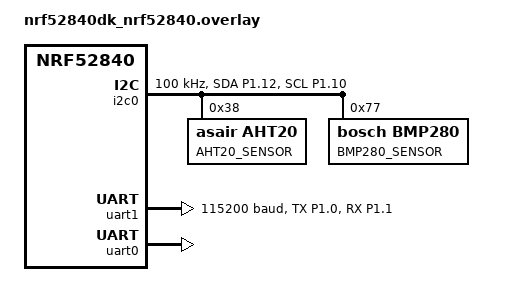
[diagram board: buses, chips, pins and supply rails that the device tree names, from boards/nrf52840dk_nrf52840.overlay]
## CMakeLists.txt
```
# SPDX-License-Identifier: Apache-2.0

cmake_minimum_required(VERSION 3.20.0)

find_package(Zephyr REQUIRED HINTS $ENV{ZEPHYR_BASE})

project(crs_demo)

FILE(GLOB devices_sources src/devices/src/*.c)
FILE(GLOB protocol_sources src/protocol/src/*.c)
FILE(GLOB communicate_sources src/communicate/src/*.c)

target_sources(app PRIVATE src/main.c ${devices_sources} ${protocol_sources} ${communicate_sources})

target_include_directories(app PRIVATE src src/devices/inc src/protocol/inc src/communicate/inc)
```

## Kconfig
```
mainmenu "CRS DEMO"

menu "Application configuration"

config AS201_IMU
    bool "Enable AS201 IMU Support"
    default n
    help 
      This option enables the custom AS201 inertial measurement unit driver logic.

config LD2410C_DDRS
    bool "Enable LD2410C DDRS Support"
    default n
    help 
      This option enables the custom LD2410C Distance Detection Radar Sensor driver logic.

config AHT20_TS
    bool "Enable AHT20 TS Support"
    default n
    help 
      This option enables the custom AHT20 temperature sensor driver logic.

config BMP280_PS
    bool "Enable BMP280 Support"
    default n
    help 
      This option enables the custom BMP280 pressure sensor driver logic.

config HRBO
    bool "Enable HRBO Support"
    default n
    help 
      This option enables the custom Oximeter and Heart-Rate Sensor driver logic.

config BLINK
    bool "Enable BLINK Support"
    default n
    help 
      This option enables the custom BLINK driver logic.

config DEBUG_UART
    bool "Enable DEBUG UART Support"
    default n
    help 
      This option enables the custom DEBUG UART driver logic.

endmenu

source "Kconfig.zephyr"
```

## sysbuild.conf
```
SB_CONFIG_BOOTLOADER_MCUBOOT=y
# SB_CONFIG_MCUBOOT_MODE_OVERWRITE_ONLY=y
```

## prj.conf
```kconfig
CONFIG_PRINTK=y
CONFIG_LOG=y
CONFIG_ASSERT=n

# IPC
CONFIG_EVENTS=y   

#MEM
CONFIG_HEAP_MEM_POOL_SIZE=2048

#BT
CONFIG_BT=y
CONFIG_BT_PERIPHERAL=y
# update data len
CONFIG_BT_DATA_LEN_UPDATE=y
CONFIG_BT_USER_DATA_LEN_UPDATE=y
CONFIG_BT_CTLR_DATA_LENGTH_MAX=251
CONFIG_BT_BUF_ACL_TX_SIZE=502
CONFIG_BT_BUF_ACL_RX_SIZE=502
CONFIG_BT_L2CAP_TX_MTU=498
# update phy param
CONFIG_BT_PHY_UPDATE=y
CONFIG_BT_USER_PHY_UPDATE=y
CONFIG_BT_CTLR_PHY_2M=n
CONFIG_BT_CTLR_PHY_CODED=y
# ble tx power
CONFIG_BT_CTLR_TX_PWR_DYNAMIC_CONTROL=y
CONFIG_BT_LL_SW_SPLIT=y
# Set preferred values based on BT_BAP_CONN_PARAM_RELAXED
CONFIG_BT_PERIPHERAL_PREF_MIN_INT=6
CONFIG_BT_PERIPHERAL_PREF_MAX_INT=30
CONFIG_BT_PERIPHERAL_PREF_LATENCY=0
CONFIG_BT_PERIPHERAL_PREF_TIMEOUT=400

# gpio enable
CONFIG_GPIO=y

# i2c enable
CONFIG_I2C=y
CONFIG_I2C_NRFX=y

# uart enable
CONFIG_SERIAL=y
CONFIG_UART_ASYNC_API=y

# disable watchdog
CONFIG_WATCHDOG=y

# user custom function
CONFIG_AS201_IMU=n
CONFIG_LD2410C_DDRS=n
CONFIG_AHT20_TS=y
CONFIG_BMP280_PS=y
CONFIG_HRBO=y
CONFIG_BLINK=y
CONFIG_DEBUG_UART=n
CONFIG_BT_CRS=y

# Enable MCUmgr and dependencies.
CONFIG_KERNEL_BIN_NAME="V_1_0_11"
CONFIG_BT_DEVICE_NAME="CRS_V_1_0_11"
CONFIG_BOOTLOADER_MCUBOOT=y
CONFIG_MCUMGR=y
CONFIG_MCUMGR_TRANSPORT_BT=y
CONFIG_MCUMGR_GRP_IMG=y
CONFIG_MCUMGR_GRP_OS=y
CONFIG_MCUMGR_TRANSPORT_BT_REASSEMBLY=y
CONFIG_MCUMGR_GRP_OS_MCUMGR_PARAMS=y
CONFIG_MCUMGR_TRANSPORT_BT_CONN_PARAM_CONTROL=y # OTA speed
CONFIG_MCUMGR_TRANSPORT_NETBUF_SIZE=2475
# OTA mmg
CONFIG_FLASH=y
CONFIG_FLASH_MAP=y
CONFIG_STREAM_FLASH=y
CONFIG_IMG_MANAGER=y
CONFIG_NET_BUF=y
CONFIG_ZCBOR=y
```

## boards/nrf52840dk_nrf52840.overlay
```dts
/* SPDX-License-Identifier: Apache-2.0 */

/ {
	zephyr,user {
		as201-imu-uart = <&crs_as201_imu_uart>;
	};
	
	aliases {
		sensor-device = &uart0;
	};
};

&pinctrl {
	i2c0_default: i2c0_default {
		group1 {
			psels = <NRF_PSEL(TWIM_SDA, 1, 12)>,
				<NRF_PSEL(TWIM_SCL, 1, 10)>;
		};
	};

	i2c0_sleep: i2c0_sleep {
		group1 {
			psels = <NRF_PSEL(TWIM_SDA, 1, 12)>,
				<NRF_PSEL(TWIM_SCL, 1, 10)>;
			low-power-enable;
		};
	};

	as201_imu_uart_default: as201_imu_uart_default {
		group1 {
			psels = <NRF_PSEL(UART_TX, 1, 0)>,
				<NRF_PSEL(UART_RX, 1, 1)>;
		};
	};
};

&i2c0 {
	compatible = "nordic,nrf-twim";
	status = "okay";
	pinctrl-0 = <&i2c0_default>;
	pinctrl-1 = <&i2c0_sleep>;
	pinctrl-names = "default", "sleep";
	clock-frequency = <100000>;

	hrbo_sensor: hrbo_sensor@62 {
		compatible = "maxim,maxm86161";
		reg = <0x62>;
		label = "HRBO_SENSOR";
		status = "disabled";
	};

	aht20_sensor: aht20_sensor@38 {
		compatible = "asair,aht20";
		reg = <0x38>;
		label = "AHT20_SENSOR";
		status = "okay";
	};

	bmp280_sensor: bmp280_sensor@77 {
		compatible = "bosch,bmp280";
		reg = <0x77>;
		label = "BMP280_SENSOR";
		status = "okay";
	};
};

crs_as201_imu_uart: &uart1 {
	status = "okay";
	pinctrl-0 = <&as201_imu_uart_default>;
	current-speed = <115200>;
};

&uart0 {
    status = "okay";
};
```

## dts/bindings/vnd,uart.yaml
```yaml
# dts/bindings/vnd_uart.yaml
description: Vendor Virtual Sensor/UART for RTIO demo

compatible: "vnd_uart"

include: base.yaml

properties:
  sample_period:
    type: int
    required: true
    description: Time between simulated data events in milliseconds.

  sample_size:
    type: int
    required: true
    description: Size of each data packet in bytes.
```

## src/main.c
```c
#include "main.h"

#include <zephyr/device.h>
#include <zephyr/kernel.h>
#include <zephyr/linker/linker-defs.h>
#include <zephyr/logging/log.h>
#include <zephyr/stats/stats.h>

#ifdef CONFIG_MCUMGR_GRP_FS
#include <zephyr/device.h>
#include <zephyr/fs/fs.h>
#include <zephyr/fs/littlefs.h>
#endif

#ifdef CONFIG_MCUMGR_GRP_STAT
#include <zephyr/mgmt/mcumgr/grp/stat_mgmt/stat_mgmt.h>
#endif

LOG_MODULE_REGISTER(smp_sample);

struct k_mutex i2c_mutex;

#ifdef CONFIG_MCUMGR_GRP_FS
#define STORAGE_PARTITION_LABEL storage_partition
#define STORAGE_PARTITION_ID FIXED_PARTITION_ID(STORAGE_PARTITION_LABEL)
FS_LITTLEFS_DECLARE_DEFAULT_CONFIG(cstorage);
static struct fs_mount_t littlefs_mnt = {
    .type = FS_LITTLEFS, .fs_data = &cstorage, .storage_dev = (void*)STORAGE_PARTITION_ID, .mnt_point = "/lfs1"};
#endif

#ifdef CONFIG_MCUMGR_GRP_STAT
/* Define an example stats group; approximates seconds since boot. */
STATS_SECT_START(smp_svr_stats)
STATS_SECT_ENTRY(ticks)
STATS_SECT_END;

/* Assign a name to the `ticks` stat. */
STATS_NAME_START(smp_svr_stats)
STATS_NAME(smp_svr_stats, ticks)
STATS_NAME_END(smp_svr_stats);

/* Define an instance of the stats group. */
STATS_SECT_DECL(smp_svr_stats) smp_svr_stats;
#endif

int main(void)
{
    printk("Address of sample %p\n", (void*)__rom_region_start);
#ifdef CONFIG_MCUMGR_GRP_STAT
    int rc = STATS_INIT_AND_REG(smp_svr_stats, STATS_SIZE_32, "smp_svr_stats");
    if (rc < 0) {
        LOG_ERR("Error initializing stats system [%d]", rc);
    }
#endif
#ifdef CONFIG_MCUMGR_GRP_FS
    rc = fs_mount(&littlefs_mnt);
    if (rc < 0) {
        LOG_ERR("Error mounting littlefs [%d]", rc);
    }
#endif

    k_mutex_init(&i2c_mutex);

    while (1) {
        k_sleep(K_MSEC(10));
#ifdef CONFIG_MCUMGR_GRP_STAT
        STATS_INC(smp_svr_stats, ticks);
#endif
    }
    return 0;
}
```

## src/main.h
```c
#ifndef __MAIN_H__
#define __MAIN_H__

#include <zephyr/kernel.h>

#include "protocol/inc/crs_producer.h"

enum {
#ifdef CONFIG_AHT20_TS
    AHT20_TS_EVENT_NUM,
#endif

#ifdef CONFIG_BMP280_PS
    BMP280_PS_EVENT_NUM,
#endif

#ifdef CONFIG_HRBO
    HRBO_EVENT_NUM,
#endif

#ifdef CONFIG_LD2410C_DDRS
    LD2410C_DDRS_EVENT_NUM,
#endif

#ifdef CONFIG_AS201_IMU
    AS201_IMU_EVENT_NUM,
#endif
    MAX_EVENT_NUM
};

#ifdef CONFIG_BT_CRS
#include "communicate/inc/crs_ble.h"
#define BLE_PRIORITY (5)
#endif

#ifdef CONFIG_DEBUG_UART
#include "communicate/inc/crs_debug_uart.h"
#define DEBUG_UART_PRIORITY (8)
#endif

#ifdef CONFIG_BLINK
#include "devices/inc/crs_blink.h"
#define BLINK0_PRIORITY (5)
#endif

#ifdef CONFIG_AHT20_TS
#include "devices/inc/crs_aht20_ts.h"
#define AHT20_TS_EVENT (1 << AHT20_TS_EVENT_NUM)
#define AHT20_TS_PRIORITY (5)
#endif

#ifdef CONFIG_BMP280_PS
#include "devices/inc/crs_bmp280_ps.h"
#define BMP280_PS_EVENT (1 << BMP280_PS_EVENT_NUM)
#define BMP280_PS_PRIORITY (5)
#endif

#ifdef CONFIG_HRBO
#include "devices/inc/crs_hrbo.h"
#define HRBO_EVENT (1 << HRBO_EVENT_NUM)
#define HRBO_PRIORITY (3)
#endif

#ifdef CONFIG_LD2410C_DDRS
#include "devices/inc/crs_ld2410c_ddrs.h"
#define LD2410C_DDRS_EVENT (1 << LD2410C_DDRS_EVENT_NUM)
#define LD2410C_DDRS_PRIORITY (6)
#endif

#ifdef CONFIG_AS201_IMU
#include "devices/inc/crs_as201_imu.h"
#define AS201_IMU_EVENT (1 << AS201_IMU_EVENT_NUM)
#define AS201_IMU_PRIORITY (6)
#endif

#define PRODUCER_PRIORITY (4)

extern struct k_mutex i2c_mutex;

#endif
```
